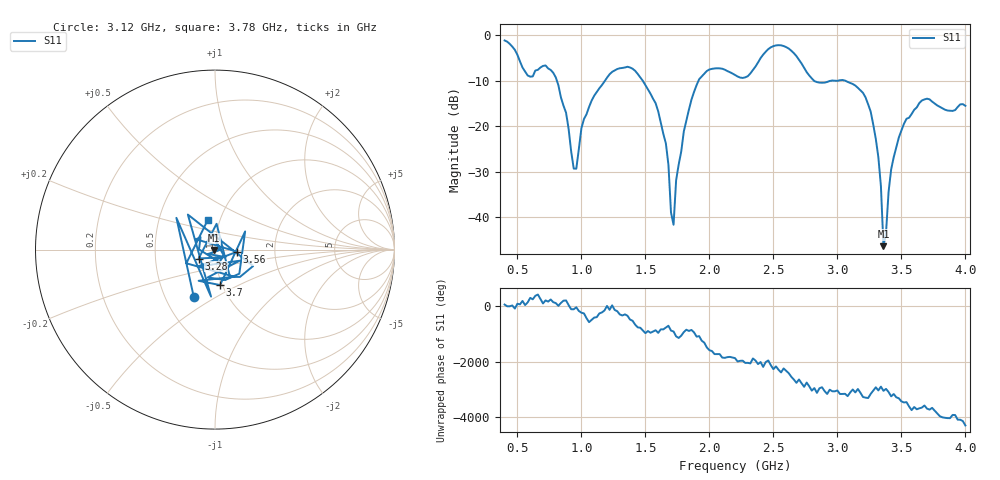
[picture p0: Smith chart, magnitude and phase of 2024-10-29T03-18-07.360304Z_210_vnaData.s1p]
!Created with skrf (http://scikit-rf.org).
# Hz S RI R 50.0
!freq ReS11 ImS11
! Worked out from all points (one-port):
!   181 points, 400 MHz to 4 GHz, reference 50 ohm
!   lowest |S11| = -46.4 dB at 3.36 GHz (marker M1), VSWR 1.01, Z = 49.5 - j0.151 ohm
!   |S11| at or under -10 dB: 807.9 MHz to 1.185 GHz (377.4 MHz wide, 37.9 % of centre); 1.478 GHz to 1.916 GHz (437.6 MHz wide, 25.8 % of centre); 3.057 GHz to end of sweep (the widest 3 of 4)
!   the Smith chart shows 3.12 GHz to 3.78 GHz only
!   S11 on the Smith chart (normalised r, x): 3.12 GHz: 0.69, -0.40; 3.28 GHz: 0.83, -0.08; 3.56 GHz: 1.28, -0.03; 3.7 GHz: 0.98, -0.40; 3.78 GHz: 0.87, +0.29
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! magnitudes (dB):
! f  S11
! 400 MHz  -1.2
! 580 MHz  -8.9
! 760 MHz  -7.7
! 860 MHz  -15.5
! 960 MHz  -29.4
! 1 GHz  -20.5
! 1.08 GHz  -14.4
! 1.3 GHz  -7.3
! 1.58 GHz  -15.0
! 1.66 GHz  -23.8
! 1.7 GHz  -39.0
! 1.72 GHz  -41.7
! 1.76 GHz  -28.5
! 1.92 GHz  -9.7
! 2.2 GHz  -8.8
! 2.5 GHz  -2.4
! 2.66 GHz  -4.0
! 2.82 GHz  -10.1
! 3.1 GHz  -10.5
! 3.12 GHz  -10.8
! 3.28 GHz  -19.7
! 3.34 GHz  -33.2
! 3.36 GHz  -46.4
! 3.42 GHz  -29.5
! 3.56 GHz  -18.2
! 3.7 GHz  -14.0
! 3.78 GHz  -15.5
! 4 GHz  -15.6
